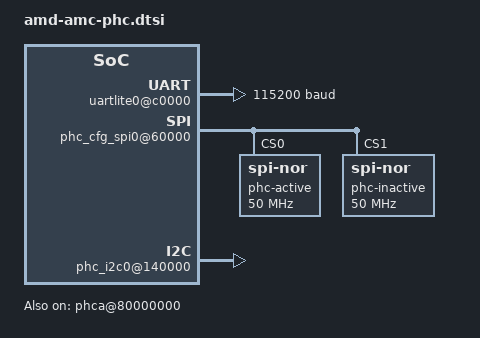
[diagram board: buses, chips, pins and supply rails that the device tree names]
// SPDX-License-Identifier: GPL-2.0-or-later
// AMD DC-GPU AMC-PHC peripherals DTS
// Author:
// Date:

/ {
	i2c16 { // virtual i2c
		compatible = "amd,i2c-socket";
		slave-mode;
		server-ip = "10.0.2.2";
		server-port = <7001>;
	};
	i2c17 { // virtual i2c
		compatible = "amd,i2c-socket";
		slave-mode;
		server-ip = "10.0.2.2";
		server-port = <7002>;
	};
	i2c18 { // virtual i2c
		compatible = "amd,i2c-socket";
		slave-mode;
		server-ip = "10.0.2.2";
		server-port = <7003>;
	};
	i2c19 { // virtual i2c
		compatible = "amd,i2c-socket";
		slave-mode;
		server-ip = "10.0.2.2";
		server-port = <7004>;
	};
	amc-phc {
		uartlite0@c0000 {
			clock-names = "s_axi_aclk";
			compatible = "xlnx,xps-uartlite-1.00.a";
			//reg = < 0x0 0x80040000 0x0 0xffff >;
			amd,reg-offset = <0xc0000>;
			amd,user-int = <1>;
			port-number = <1>;
			current-speed = <115200>;
			xlnx,use-parity = <0>;
			xlnx,data-bits = <8>;
			clock = <100000000>;
			xlnx,s-axi-aclk-freq-hz-d = "100.0";
			status = "okay";
		};

		phc_cfg_spi0@60000 {
			compatible = "xlnx,axi-quad-spi-1.00.a";
			amd,reg-offset = <0x60000>;
			amd,user-int = <9999>;
			fifo-size = <16>;
			num-cs = <0x2>;
			bits-per-word = <8>;
			xlnx,startup-block = <1>;
			flash@0 {
				reg = <0>;
				compatible = "jedec,spi-nor";
				status = "okay";
				label = "phc-active";
				spi-max-frequency = <50000000>;
				m25p,fast-read;
				spi-tx-bus-width = <4>;
				spi-rx-bus-width = <4>;
			};
			flash@1 {
				reg = <1>;
				compatible = "jedec,spi-nor";
				status = "okay";
				label = "phc-inactive";
				spi-max-frequency = <50000000>;
				m25p,fast-read;
				spi-tx-bus-width = <4>;
				spi-rx-bus-width = <4>;
			};
		};

		phc_i2c0@140000 {
			compatible = "xlnx,xps-iic-2.00.a";
			amd,reg-offset = <0x140000>;
			amd,user-int = <2>;
		};

	};
	phca@80000000 {
		compatible = "amd,phca-pcie";
		reg = <0x0 0x80000000 0x0 0x10000>; /* PCIe memory-mapped registers */

		/* Add interrupt configuration for GPIO F7 */
		interrupt-parent = <&gpio0>;  /* ASPEED GPIO controller */
		interrupts = <47 IRQ_TYPE_EDGE_RISING>; /* GPIO F7 (47), rising edge */

		/* I2C interface information */
		i2c-bus = <&i2c0>;  /* Phandle to the I2C controller (i2c0) */
		i2c-addr = <0x50>;  /* I2C slave address (0x50) */

		status = "okay";
	};
};
